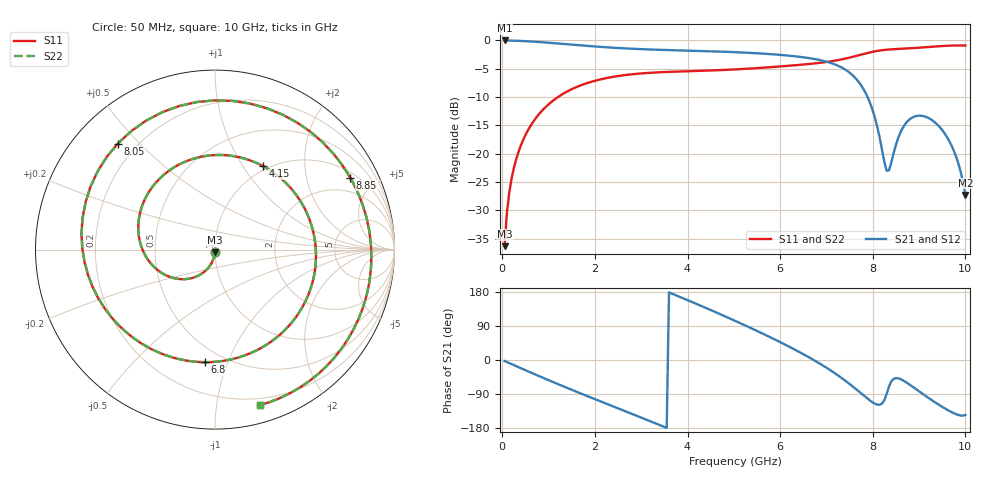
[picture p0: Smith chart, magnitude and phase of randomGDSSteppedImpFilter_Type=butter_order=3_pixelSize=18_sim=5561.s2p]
! freq	dB(S11)	phase(S11)	dB(S12)	phase(S12)
!  dB(S21)	phase(S21)	dB(S22)	phase(S22)
!S-par simulation data
#  GHz  S  DB  R 50
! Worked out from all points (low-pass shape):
!   200 points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, 50 MHz to 10 GHz, reference 50 ohm
!   highest |S21| = -0.01 dB at 50 MHz (marker M1); lowest = -27.3 dB at 10 GHz (marker M2)
!   |S21| within 3 dB of the highest: start of sweep to 6.527 GHz
!   lowest |S11| = -36.3 dB at 50 MHz (marker M3), VSWR 1.03, Z = 49.9 - j1.52 ohm
!   |S11| at or under -10 dB: start of sweep to 1.202 GHz
!   |S22| runs from -36.3 to -0.9 dB; largest |S21 - S12| = 0
!   S11 on the Smith chart (normalised r, x): 50 MHz: 1.00, -0.03; 4.15 GHz: 0.95, +1.24; 6.8 GHz: 0.40, -0.83; 8.05 GHz: 0.13, +0.43; 8.85 GHz: 1.22, +3.62; 10 GHz: 0.14, -1.32
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0.05  -36.34 -92.4  -0.01 -2.8  -0.01 -2.8  -36.34 -92.4
0.2  -24.44 -101.2  -0.03 -10.9  -0.03 -10.9  -24.44 -101.1
0.5  -16.71 -117.5  -0.13 -27.0  -0.13 -27.0  -16.71 -117.5
1.15  -10.30 -151.6  -0.50 -61.0  -0.50 -61.0  -10.30 -151.6
1.75  -7.77 178.2  -0.91 -91.1  -0.91 -91.1  -7.77 178.3
2.65  -6.12 134.4  -1.41 -134.9  -1.41 -134.9  -6.12 134.5
3.4  -5.62 97.8  -1.66 -171.6  -1.66 -171.6  -5.62 97.8
4.15  -5.40 60.0  -1.84 150.3  -1.84 150.3  -5.40 60.0
5.05  -5.11 12.2  -2.08 102.1  -2.08 102.1  -5.11 12.2
5.8  -4.72 -30.2  -2.43 59.2  -2.43 59.2  -4.72 -30.3
6.7  -4.10 -88.0  -3.22 1.7  -3.22 1.7  -4.10 -88.2
6.8  -4.01 -95.3  -3.37 -5.4  -3.37 -5.4  -4.01 -95.6
7.25  -3.47 -132.6  -4.47 -40.7  -4.47 -40.7  -3.48 -133.0
7.6  -2.83 -168.8  -6.43 -73.1  -6.43 -73.1  -2.83 -169.4
7.85  -2.29 160.1  -9.36 -98.4  -9.36 -98.4  -2.29 159.5
8.05  -1.92 132.6  -13.76 -115.5  -13.76 -115.5  -1.92 132.0
8.35  -1.60 90.2  -22.94 -70.3  -22.94 -70.3  -1.60 89.6
8.6  -1.49 57.2  -16.20 -50.4  -16.20 -50.4  -1.48 56.7
8.85  -1.37 28.0  -13.63 -69.6  -13.63 -69.6  -1.37 27.7
9.35  -1.06 -20.9  -14.53 -112.1  -14.53 -112.1  -1.06 -21.1
9.75  -0.90 -54.3  -19.48 -140.4  -19.48 -140.4  -0.90 -54.5
10  -0.89 -73.9  -27.29 -145.0  -27.29 -145.0  -0.89 -74.0
